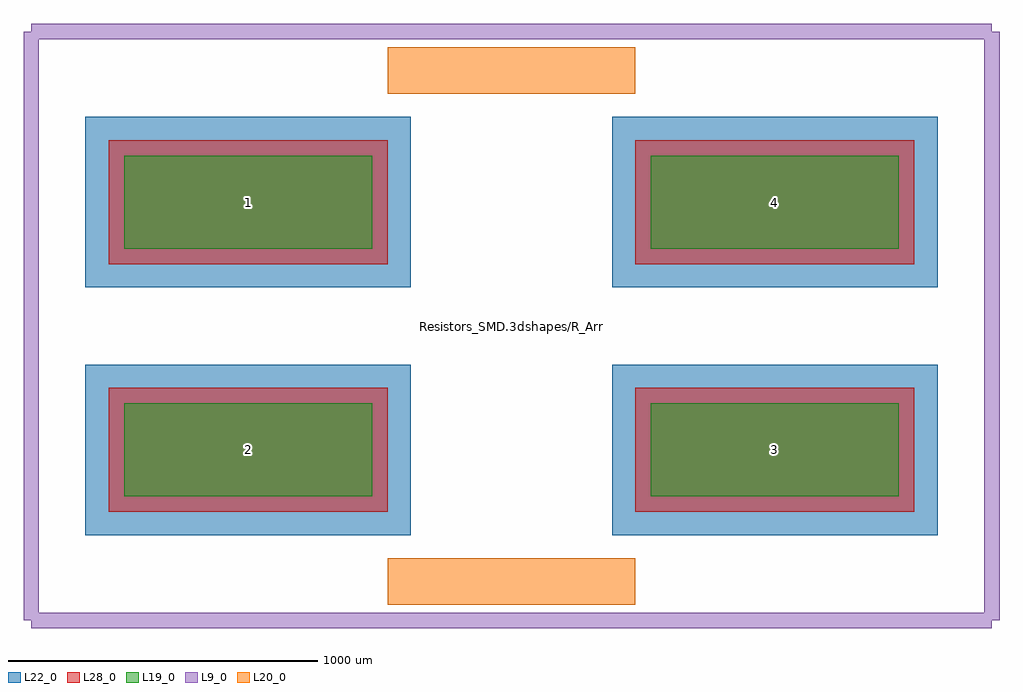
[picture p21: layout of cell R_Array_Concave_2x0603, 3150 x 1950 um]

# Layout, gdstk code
import gdstk
lib = gdstk.Library(unit=1e-6, precision=1e-09)
def R(c, l, rs):  # rectangles x0, y0, x1, y1
    for r in rs: c.add(gdstk.rectangle(r[:2], r[2:], *l))
L9_0 = (9, 0)
L19_0 = (19, 0)
L20_0 = (20, 0)
L22_0 = (22, 0)
L28_0 = (28, 0)

r_array_concave_2x0603 = lib.new_cell('R_Array_Concave_2x0603')
R(r_array_concave_2x0603, L19_0, [(-1250,-550,-450,-250), (450,-550,1250,-250), (-1250,250,-450,550), (450,250,1250,550)])
R(r_array_concave_2x0603, L22_0, [(-1375,-675,-325,-125), (325,-675,1375,-125), (-1375,125,-325,675), (325,125,1375,675)])
R(r_array_concave_2x0603, L28_0, [(-1300,-600,-400,-200), (400,-600,1300,-200), (-1300,200,-400,600), (400,200,1300,600)])
r_array_concave_2x0603.add(gdstk.FlexPath([(400,825),(-400,825)], 149.998, ends="flush", simple_path=True, layer=20, datatype=0))  # L20_0
r_array_concave_2x0603.add(gdstk.FlexPath([(400,-825),(-400,-825)], 149.998, ends="flush", simple_path=True, layer=20, datatype=0))  # L20_0
r_array_concave_2x0603.add(gdstk.FlexPath([(1550,950),(1550,-950)], 50, ends="flush", simple_path=True, layer=9, datatype=0))  # L9_0
r_array_concave_2x0603.add(gdstk.FlexPath([(-1550,950),(-1550,-950)], 50, ends="flush", simple_path=True, layer=9, datatype=0))  # L9_0
r_array_concave_2x0603.add(gdstk.FlexPath([(-1550,-950),(1550,-950)], 50, ends="flush", simple_path=True, layer=9, datatype=0))  # L9_0
r_array_concave_2x0603.add(gdstk.FlexPath([(-1550,950),(1550,950)], 50, ends="flush", simple_path=True, layer=9, datatype=0))  # L9_0
r_array_concave_2x0603.add(gdstk.Label('Resistors_SMD.3dshapes/R_Array_Concave_2x0603.wrl', (0,0), layer=12, texttype=0))
r_array_concave_2x0603.add(gdstk.Label('4', (850,400), layer=28, texttype=0))
r_array_concave_2x0603.add(gdstk.Label('3', (850,-400), layer=28, texttype=0))
r_array_concave_2x0603.add(gdstk.Label('2', (-850,-400), layer=28, texttype=0))
r_array_concave_2x0603.add(gdstk.Label('1', (-850,400), layer=28, texttype=0))
r_array_concave_2x0603.add(gdstk.Label('type', (0,-2000), layer=9, texttype=0))
r_array_concave_2x0603.add(gdstk.Label('devicename', (0,2000), layer=9, texttype=0))

lib.write_gds('R_Array_Concave_2x0603.gds')
